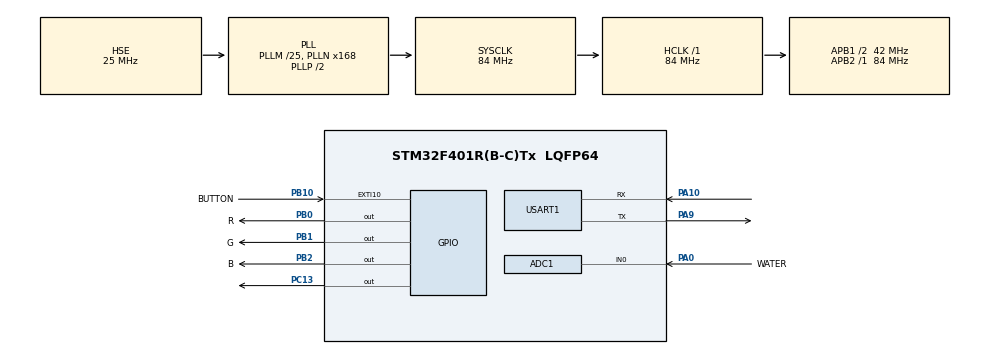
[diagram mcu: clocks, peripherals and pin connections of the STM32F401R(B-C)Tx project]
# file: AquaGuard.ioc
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ADC1.Channel-0\#ChannelRegularConversion=ADC_CHANNEL_0
ADC1.NbrOfConversionFlag=1
ADC1.Rank-0\#ChannelRegularConversion=1
ADC1.SamplingTime-0\#ChannelRegularConversion=ADC_SAMPLETIME_3CYCLES
ADC1.master=1
Mcu.Family=STM32F4
Mcu.Name=STM32F401R(B-C)Tx
Mcu.Package=LQFP64
NVIC.EXTI15_10_IRQn=true\:0\:0\:false\:false\:true\:true\:true\:true
NVIC.PriorityGroup=NVIC_PRIORITYGROUP_4
NVIC.TIM2_IRQn=true\:0\:0\:false\:false\:true\:true\:true\:true
PA0-WKUP.GPIO_Label=WATER
PA0-WKUP.Signal=ADCx_IN0
PA10.Mode=Asynchronous
PA10.Signal=USART1_RX
PA13.Mode=Serial_Wire
PA13.Signal=SYS_JTMS-SWDIO
PA14.Mode=Serial_Wire
PA14.Signal=SYS_JTCK-SWCLK
PA9.Mode=Asynchronous
PA9.Signal=USART1_TX
PB0.GPIO_Label=R
PB0.Signal=GPIO_Output
PB1.GPIO_Label=G
PB1.Signal=GPIO_Output
PB10.GPIO_Label=BUTTON
PB10.GPIO_PuPd=GPIO_PULLUP
PB10.Signal=GPXTI10
PB2.GPIO_Label=B
PB2.Signal=GPIO_Output
PC13-ANTI_TAMP.Signal=GPIO_Output
PH0\ -\ OSC_IN.Mode=HSE-External-Oscillator
PH0\ -\ OSC_IN.Signal=RCC_OSC_IN
PH1\ -\ OSC_OUT.Mode=HSE-External-Oscillator
PH1\ -\ OSC_OUT.Signal=RCC_OSC_OUT
ProjectManager.HeapSize=0x200
ProjectManager.StackSize=0x400
ProjectManager.TargetToolchain=STM32CubeIDE
RCC.48MHZClocksFreq_Value=42000000
RCC.AHBFreq_Value=84000000
RCC.APB1CLKDivider=RCC_HCLK_DIV2
RCC.APB1Freq_Value=42000000
RCC.APB1TimFreq_Value=84000000
RCC.APB2Freq_Value=84000000
RCC.APB2TimFreq_Value=84000000
RCC.CortexFreq_Value=84000000
RCC.EnbaleCSS=true
RCC.HCLKFreq_Value=84000000
RCC.HSE_VALUE=25000000
RCC.HSI_VALUE=16000000
RCC.LSE_VALUE=32768
RCC.PLLM=25
RCC.PLLN=168
RCC.PLLSourceVirtual=RCC_PLLSOURCE_HSE
RCC.SYSCLKFreq_VALUE=84000000
RCC.SYSCLKSource=RCC_SYSCLKSOURCE_PLLCLK
RCC.VCOOutputFreq_Value=168000000
SH.ADCx_IN0.0=ADC1_IN0,IN0
TIM2.Period=4999
TIM2.Prescaler=8399
USART1.VirtualMode=VM_ASYNC
VP_TIM2_VS_ClockSourceINT.Mode=Internal
board=custom

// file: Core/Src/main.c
/* USER CODE BEGIN Header */
/*
 Project name: AquaGuard
*/
/* USER CODE END Header */
#include "main.h"
#include "adc.h"
#include "tim.h"
#include "usart.h"
#include "gpio.h"

/* USER CODE BEGIN PV */
volatile uint8_t button_pressed_flag = 0; // Flag set by button interrupt; cleared in main loop.

uint8_t system_active = 0; // System active state: 1 = ON (monitoring), 0 = OFF (standby).
uint8_t water_present = 0; // Current water detection result: 1 = water present, 0 = dry.
uint8_t last_water_state = 0; // Previous water detection result, used to send alerts only on change.
uint8_t send_system_status = 1; // Flag to request transmission of system status (SYSTEM ON / SYSTEM OFF).
uint32_t periodic_counter = 0; // Counter for periodic status reports.
/* USER CODE END PV */

void SystemClock_Config(void);

int main(void)
{

  /* MCU Configuration--------------------------------------------------------*/

  /* Reset of all peripherals, Initializes the Flash interface and the Systick. */
  HAL_Init();

  /* USER CODE BEGIN Init */
  GPIO_InitTypeDef gpio_init;
  gpio_init.Pin = GPIO_PIN_9;
  gpio_init.Mode = GPIO_MODE_OUTPUT_PP;
  gpio_init.Pull = GPIO_NOPULL;
  gpio_init.Speed = GPIO_SPEED_FREQ_LOW;
  HAL_GPIO_Init(GPIOA, &gpio_init);
  HAL_GPIO_WritePin(GPIOA, GPIO_PIN_9, GPIO_PIN_SET);
  /* USER CODE END Init */

  /* Configure the system clock */
  SystemClock_Config();

  /* Initialize all configured peripherals */
  MX_GPIO_Init();
  MX_ADC1_Init();
  MX_TIM2_Init();
  MX_USART1_UART_Init();
  /* USER CODE BEGIN 2 */
  HAL_GPIO_WritePin(R_GPIO_Port, R_Pin, GPIO_PIN_RESET);
  HAL_GPIO_WritePin(G_GPIO_Port, G_Pin, GPIO_PIN_RESET);
  HAL_GPIO_WritePin(B_GPIO_Port, B_Pin, GPIO_PIN_RESET);

  HAL_TIM_Base_Start_IT(&htim2);

  HAL_Delay(2000);
  /* USER CODE END 2 */

  /* Infinite loop */
  while (1)
  {

    /* USER CODE BEGIN 3 */
	  if (send_system_status) {
		  // Handling the first startup or system status change
		  // UART and ADC. HAL
	      if (system_active) {
	          HAL_UART_Transmit(&huart1, (uint8_t*)"SYSTEM ON\n", 10, 100);
	          uint16_t adc_val;
	          HAL_ADC_Start(&hadc1);
	          if (HAL_ADC_PollForConversion(&hadc1, 10) == HAL_OK) {
	              adc_val = HAL_ADC_GetValue(&hadc1);
	              water_present = (adc_val > 500) ? 1 : 0;
	          }
	          HAL_ADC_Stop(&hadc1);

	          if (water_present) {
	              HAL_UART_Transmit(&huart1, (uint8_t*)"WARNING\n", 8, 100);
	          } else {
	              HAL_UART_Transmit(&huart1, (uint8_t*)"GOOD\n", 5, 100);
	          }
	          last_water_state = water_present;
	          periodic_counter = 0;
	      } else {
	          HAL_UART_Transmit(&huart1, (uint8_t*)"SYSTEM OFF\n", 11, 100);
	          last_water_state = 0;
	      }
	      send_system_status = 0;
	  } else {
	      // Standard operation after initialization
	      if (system_active) {
	          uint16_t adc_val;
	          HAL_ADC_Start(&hadc1);
	          if (HAL_ADC_PollForConversion(&hadc1, 10) == HAL_OK) {
	              adc_val = HAL_ADC_GetValue(&hadc1);
	              water_present = (adc_val > 500) ? 1 : 0;
	          }
	          HAL_ADC_Stop(&hadc1);

	          // Sending a message via UART when a change is made
	          if (water_present != last_water_state) {
	              last_water_state = water_present;
	              if (water_present) {
	                  HAL_UART_Transmit(&huart1, (uint8_t*)"WARNING\n", 8, 100);
	              } else {
	                  HAL_UART_Transmit(&huart1, (uint8_t*)"GOOD\n", 5, 100);
	              }
	              periodic_counter = 0;
	          }

	          // Periodic sending
	          /*
	           WARNING - 5 seconds
	           GOOD - 20 seconds
	           */
	          periodic_counter++;
	          if (water_present) {
	              if (periodic_counter >= 50) {
	                  periodic_counter = 0;
	                  HAL_UART_Transmit(&huart1, (uint8_t*)"WARNING\n", 8, 100);
	              }
	          } else {
	              if (periodic_counter >= 200) {
	                  periodic_counter = 0;
	                  HAL_UART_Transmit(&huart1, (uint8_t*)"GOOD\n", 5, 100);
	              }
	          }

	          // Operation indication
	          if (water_present) {
	              HAL_GPIO_WritePin(G_GPIO_Port, G_Pin, GPIO_PIN_RESET);
	              HAL_GPIO_WritePin(B_GPIO_Port, B_Pin, GPIO_PIN_RESET);
	          } else {
	              HAL_GPIO_WritePin(R_GPIO_Port, R_Pin, GPIO_PIN_RESET);
	              HAL_GPIO_WritePin(G_GPIO_Port, G_Pin, GPIO_PIN_SET);
	              HAL_GPIO_WritePin(B_GPIO_Port, B_Pin, GPIO_PIN_RESET);
	          }
	      } else {
	          // SYSTEM OFF
	          HAL_GPIO_WritePin(R_GPIO_Port, R_Pin, GPIO_PIN_RESET);
	          HAL_GPIO_WritePin(G_GPIO_Port, G_Pin, GPIO_PIN_RESET);
	          HAL_GPIO_WritePin(B_GPIO_Port, B_Pin, GPIO_PIN_RESET);
	          last_water_state = 0;
	          periodic_counter = 0;
	      }
	  }

	  HAL_Delay(100);
  }
  /* USER CODE END 3 */
}

void SystemClock_Config(void)
{
  RCC_OscInitTypeDef RCC_OscInitStruct = {0};
  RCC_ClkInitTypeDef RCC_ClkInitStruct = {0};

  /** Configure the main internal regulator output voltage
  */
  __HAL_RCC_PWR_CLK_ENABLE();
  __HAL_PWR_VOLTAGESCALING_CONFIG(PWR_REGULATOR_VOLTAGE_SCALE2);

  /** Initializes the RCC Oscillators according to the specified parameters
  * in the RCC_OscInitTypeDef structure.
  */
  RCC_OscInitStruct.OscillatorType = RCC_OSCILLATORTYPE_HSE;
  RCC_OscInitStruct.HSEState = RCC_HSE_ON;
  RCC_OscInitStruct.PLL.PLLState = RCC_PLL_ON;
  RCC_OscInitStruct.PLL.PLLSource = RCC_PLLSOURCE_HSE;
  RCC_OscInitStruct.PLL.PLLM = 25;
  RCC_OscInitStruct.PLL.PLLN = 168;
  RCC_OscInitStruct.PLL.PLLP = RCC_PLLP_DIV2;
  RCC_OscInitStruct.PLL.PLLQ = 4;
  if (HAL_RCC_OscConfig(&RCC_OscInitStruct) != HAL_OK)
  {
    Error_Handler();
  }

  /** Initializes the CPU, AHB and APB buses clocks
  */
  RCC_ClkInitStruct.ClockType = RCC_CLOCKTYPE_HCLK|RCC_CLOCKTYPE_SYSCLK
                              |RCC_CLOCKTYPE_PCLK1|RCC_CLOCKTYPE_PCLK2;
  RCC_ClkInitStruct.SYSCLKSource = RCC_SYSCLKSOURCE_PLLCLK;
  RCC_ClkInitStruct.AHBCLKDivider = RCC_SYSCLK_DIV1;
  RCC_ClkInitStruct.APB1CLKDivider = RCC_HCLK_DIV2;
  RCC_ClkInitStruct.APB2CLKDivider = RCC_HCLK_DIV1;

  if (HAL_RCC_ClockConfig(&RCC_ClkInitStruct, FLASH_LATENCY_2) != HAL_OK)
  {
    Error_Handler();
  }

  /** Enables the Clock Security System
  */
  HAL_RCC_EnableCSS();
}

/* USER CODE BEGIN 4 */
void HAL_GPIO_EXTI_Callback(uint16_t GPIO_Pin)
{
    if (GPIO_Pin == BUTTON_Pin)
    {
        static uint32_t last_time = 0;
        uint32_t now = HAL_GetTick();

        if ((now - last_time) > 150)
        {
            last_time = now;
            system_active = !system_active;
            send_system_status = 1;
        }
    }
}

void HAL_TIM_PeriodElapsedCallback(TIM_HandleTypeDef *htim)
{
    if (htim->Instance == TIM2)
    {
        if (system_active && water_present)
        {
            HAL_GPIO_TogglePin(R_GPIO_Port, R_Pin);   // Flashing red
        }
        else
        {
            // If the system is turned off or there is no water, turn off the red light.
            HAL_GPIO_WritePin(R_GPIO_Port, R_Pin, GPIO_PIN_RESET);
        }
    }
}
/* USER CODE END 4 */

void Error_Handler(void)
{
  __disable_irq();
  while (1)
  {
  }
}
